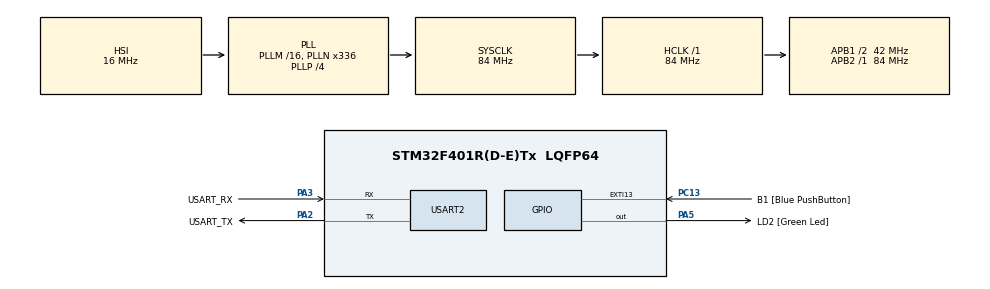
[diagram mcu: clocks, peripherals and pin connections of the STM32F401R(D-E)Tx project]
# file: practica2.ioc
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Mcu.Family=STM32F4
Mcu.Name=STM32F401R(D-E)Tx
Mcu.Package=LQFP64
NVIC.PriorityGroup=NVIC_PRIORITYGROUP_0
PA13.GPIO_Label=TMS
PA13.Mode=Serial_Wire
PA13.Signal=SYS_JTMS-SWDIO
PA14.GPIO_Label=TCK
PA14.Mode=Serial_Wire
PA14.Signal=SYS_JTCK-SWCLK
PA2.GPIO_Label=USART_TX
PA2.GPIO_Mode=GPIO_MODE_AF_PP
PA2.GPIO_PuPd=GPIO_NOPULL
PA2.GPIO_Speed=GPIO_SPEED_FREQ_LOW
PA2.Mode=Asynchronous
PA2.Signal=USART2_TX
PA3.GPIO_Label=USART_RX
PA3.GPIO_Mode=GPIO_MODE_AF_PP
PA3.GPIO_PuPd=GPIO_NOPULL
PA3.GPIO_Speed=GPIO_SPEED_FREQ_LOW
PA3.Mode=Asynchronous
PA3.Signal=USART2_RX
PA5.GPIO_Label=LD2 [Green Led]
PA5.GPIO_Mode=GPIO_MODE_OUTPUT_PP
PA5.GPIO_PuPd=GPIO_NOPULL
PA5.GPIO_Speed=GPIO_SPEED_FREQ_LOW
PA5.Signal=GPIO_Output
PB3.GPIO_Label=SWO
PB3.Signal=SYS_JTDO-SWO
PC13-ANTI_TAMP.GPIO_Label=B1 [Blue PushButton]
PC13-ANTI_TAMP.GPIO_ModeDefaultEXTI=GPIO_MODE_IT_FALLING
PC13-ANTI_TAMP.GPIO_PuPd=GPIO_NOPULL
PC13-ANTI_TAMP.Signal=GPXTI13
PC14-OSC32_IN.Mode=LSE-External-Oscillator
PC14-OSC32_IN.Signal=RCC_OSC32_IN
PC15-OSC32_OUT.Mode=LSE-External-Oscillator
PC15-OSC32_OUT.Signal=RCC_OSC32_OUT
PH0\ -\ OSC_IN.Mode=HSE-External-Clock-Source
PH0\ -\ OSC_IN.Signal=RCC_OSC_IN
PH1\ -\ OSC_OUT.Mode=HSE-External-Clock-Source
PH1\ -\ OSC_OUT.Signal=RCC_OSC_OUT
ProjectManager.HeapSize=0x200
ProjectManager.StackSize=0x400
ProjectManager.TargetToolchain=STM32CubeIDE
RCC.48MHZClocksFreq_Value=48000000
RCC.AHBFreq_Value=84000000
RCC.APB1CLKDivider=RCC_HCLK_DIV2
RCC.APB1Freq_Value=42000000
RCC.APB1TimFreq_Value=84000000
RCC.APB2Freq_Value=84000000
RCC.APB2TimFreq_Value=84000000
RCC.CortexFreq_Value=84000000
RCC.HCLKFreq_Value=84000000
RCC.HSE_VALUE=8000000
RCC.HSI_VALUE=16000000
RCC.PLLN=336
RCC.PLLP=RCC_PLLP_DIV4
RCC.PLLQ=7
RCC.SYSCLKFreq_VALUE=84000000
RCC.SYSCLKSource=RCC_SYSCLKSOURCE_PLLCLK
RCC.VCOOutputFreq_Value=336000000
USART2.VirtualMode=VM_ASYNC
board=NUCLEO-F401RE

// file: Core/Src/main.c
/* USER CODE BEGIN Header */
/**
  ******************************************************************************
  * @file           : main.c
  * @brief          : Main program body
  ******************************************************************************
  * @attention
  *
  * Copyright (c) 2023 STMicroelectronics.
  * All rights reserved.
  *
  * This software is licensed under terms that can be found in the LICENSE file
  * in the root directory of this software component.
  * If no LICENSE file comes with this software, it is provided AS-IS.
  *
  ******************************************************************************
  */
/* USER CODE END Header */
#include "main.h"

UART_HandleTypeDef huart2;

void SystemClock_Config(void);
static void MX_GPIO_Init(void);
static void MX_USART2_UART_Init(void);

/* USER CODE BEGIN 0 */

	// Constants and datatype definition

typedef enum{
BUTTON_UP,
BUTTON_FALLING,
BUTTON_DOWN,
BUTTON_RAISING,
} debounceState_t;		// Define the possible FMS states

	// Function definitions

void debounceFSM_init();	// Load the initial state of the FMS
void debounceFSM_update();	// Updates the state of the FMS
void buttonPressed();		// Function to execute when button is pressed
void buttonReleased();		// Function to execute when button is released

const uint8_t DEBOUNCETIME = 40; // Debounce delay constant
delay_t debounceDelay;			 // Create a variable type delay_t
tick_t initialDelay = DEBOUNCETIME; // Set the initial time of the delay (40ms)
debounceState_t debounceState;	// Variable of the FSM state

/* USER CODE END 0 */

int main(void)
{

  /* MCU Configuration--------------------------------------------------------*/

  /* Reset of all peripherals, Initializes the Flash interface and the Systick. */
  HAL_Init();

  /* Configure the system clock */
  SystemClock_Config();

  /* Initialize all configured peripherals */
  MX_GPIO_Init();
  MX_USART2_UART_Init();

  /* Infinite loop */
  /* USER CODE BEGIN WHILE */
  while (1)
  {
	  debounceFSM_update(); // Call the FMS continuously

    /* USER CODE END WHILE */

  }
}

void SystemClock_Config(void)
{
  RCC_OscInitTypeDef RCC_OscInitStruct = {0};
  RCC_ClkInitTypeDef RCC_ClkInitStruct = {0};

  /** Configure the main internal regulator output voltage
  */
  __HAL_RCC_PWR_CLK_ENABLE();
  __HAL_PWR_VOLTAGESCALING_CONFIG(PWR_REGULATOR_VOLTAGE_SCALE2);

  /** Initializes the RCC Oscillators according to the specified parameters
  * in the RCC_OscInitTypeDef structure.
  */
  RCC_OscInitStruct.OscillatorType = RCC_OSCILLATORTYPE_HSI;
  RCC_OscInitStruct.HSIState = RCC_HSI_ON;
  RCC_OscInitStruct.HSICalibrationValue = RCC_HSICALIBRATION_DEFAULT;
  RCC_OscInitStruct.PLL.PLLState = RCC_PLL_ON;
  RCC_OscInitStruct.PLL.PLLSource = RCC_PLLSOURCE_HSI;
  RCC_OscInitStruct.PLL.PLLM = 16;
  RCC_OscInitStruct.PLL.PLLN = 336;
  RCC_OscInitStruct.PLL.PLLP = RCC_PLLP_DIV4;
  RCC_OscInitStruct.PLL.PLLQ = 7;
  if (HAL_RCC_OscConfig(&RCC_OscInitStruct) != HAL_OK)
  {
    Error_Handler();
  }

  /** Initializes the CPU, AHB and APB buses clocks
  */
  RCC_ClkInitStruct.ClockType = RCC_CLOCKTYPE_HCLK|RCC_CLOCKTYPE_SYSCLK
                              |RCC_CLOCKTYPE_PCLK1|RCC_CLOCKTYPE_PCLK2;
  RCC_ClkInitStruct.SYSCLKSource = RCC_SYSCLKSOURCE_PLLCLK;
  RCC_ClkInitStruct.AHBCLKDivider = RCC_SYSCLK_DIV1;
  RCC_ClkInitStruct.APB1CLKDivider = RCC_HCLK_DIV2;
  RCC_ClkInitStruct.APB2CLKDivider = RCC_HCLK_DIV1;

  if (HAL_RCC_ClockConfig(&RCC_ClkInitStruct, FLASH_LATENCY_2) != HAL_OK)
  {
    Error_Handler();
  }
}

static void MX_USART2_UART_Init(void)
{

  huart2.Instance = USART2;
  huart2.Init.BaudRate = 115200;
  huart2.Init.WordLength = UART_WORDLENGTH_8B;
  huart2.Init.StopBits = UART_STOPBITS_1;
  huart2.Init.Parity = UART_PARITY_NONE;
  huart2.Init.Mode = UART_MODE_TX_RX;
  huart2.Init.HwFlowCtl = UART_HWCONTROL_NONE;
  huart2.Init.OverSampling = UART_OVERSAMPLING_16;
  if (HAL_UART_Init(&huart2) != HAL_OK)
  {
    Error_Handler();
  }

}

static void MX_GPIO_Init(void)
{
  GPIO_InitTypeDef GPIO_InitStruct = {0};

  /* GPIO Ports Clock Enable */
  __HAL_RCC_GPIOC_CLK_ENABLE();
  __HAL_RCC_GPIOH_CLK_ENABLE();
  __HAL_RCC_GPIOA_CLK_ENABLE();
  __HAL_RCC_GPIOB_CLK_ENABLE();

  /*Configure GPIO pin Output Level */
  HAL_GPIO_WritePin(LD2_GPIO_Port, LD2_Pin, GPIO_PIN_RESET);

  /*Configure GPIO pin : B1_Pin */
  GPIO_InitStruct.Pin = B1_Pin;
  GPIO_InitStruct.Mode = GPIO_MODE_IT_FALLING;
  GPIO_InitStruct.Pull = GPIO_NOPULL;
  HAL_GPIO_Init(B1_GPIO_Port, &GPIO_InitStruct);

  /*Configure GPIO pin : LD2_Pin */
  GPIO_InitStruct.Pin = LD2_Pin;
  GPIO_InitStruct.Mode = GPIO_MODE_OUTPUT_PP;
  GPIO_InitStruct.Pull = GPIO_NOPULL;
  GPIO_InitStruct.Speed = GPIO_SPEED_FREQ_LOW;
  HAL_GPIO_Init(LD2_GPIO_Port, &GPIO_InitStruct);

}

/* USER CODE BEGIN 4 */

void debounceFSM_init(){			// Initialize the FMS
	debounceState = BUTTON_UP;		// Assume that the initial state of the button is UP
	delayInit(&debounceDelay, initialDelay);	// Initialize the delay
}

void debounceFSM_update(){

	uint8_t buttonState = HAL_GPIO_ReadPin(B1_GPIO_Port, B1_Pin); // Read the button state (pressed or released)

	switch (debounceState){

	case BUTTON_UP:		// State when button is released

		if (!buttonState) {	// Check if the button is pressed (the button state is 1 when button is up)
			debounceState = BUTTON_FALLING;	// Next state for falling edge
			delayInit(&debounceDelay, 40);	// Initialize the delay for debounce
		}
	break;

	case BUTTON_FALLING:	// State for falling edge

		if (delayRead(&debounceDelay)){	// Check if the delay has finished
			if (!buttonState) {			// If button is still pressed after debounce
				debounceState = BUTTON_DOWN;	// Move to the button down state
				buttonPressed();	// Execute button pressed functino
			} else {
				debounceState = BUTTON_UP;	// Go back to the button up state
			}
		}

		break;

	case BUTTON_DOWN:	// State when button is pressed

		if (buttonState) {	// Check if the button is released
			debounceState = BUTTON_RAISING;	//	Move to the next state for rising edge
			delayInit(&debounceDelay, 40);	// Initialize the delay for debounce
		}

		break;

	case BUTTON_RAISING:	// State for the rising edge

		if (delayRead(&debounceDelay)){	// Check if the delay has finished
			if (buttonState) {	// If button is still released after debounce
				debounceState = BUTTON_UP;	// Move back to the button up state
				buttonReleased();	// Execute the button release function
			} else {
				debounceState = BUTTON_DOWN;	// Return to the button down state
			}
		}

		break;

	default:

		debounceState = BUTTON_UP;

		break;

	}
}

void buttonPressed(){
	HAL_GPIO_WritePin(LD2_GPIO_Port, LD2_Pin, GPIO_PIN_SET);	// 	Turn the led on
}

void buttonReleased(){
	HAL_GPIO_WritePin(LD2_GPIO_Port, LD2_Pin, GPIO_PIN_RESET);	// Turn the led off
}

/* USER CODE END 4 */

void Error_Handler(void)
{
  __disable_irq();
  while (1)
  {
  }
}
